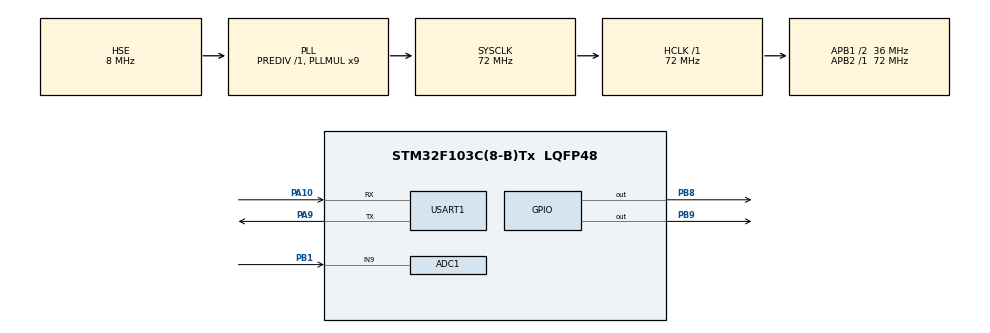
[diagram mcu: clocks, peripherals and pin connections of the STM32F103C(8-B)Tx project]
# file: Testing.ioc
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ADC1.Channel-4\#ChannelRegularConversion=ADC_CHANNEL_9
ADC1.NbrOfConversionFlag=1
ADC1.Rank-4\#ChannelRegularConversion=1
ADC1.SamplingTime-4\#ChannelRegularConversion=ADC_SAMPLETIME_1CYCLE_5
ADC1.master=1
Mcu.Family=STM32F1
Mcu.Name=STM32F103C(8-B)Tx
Mcu.Package=LQFP48
NVIC.PriorityGroup=NVIC_PRIORITYGROUP_4
PA10.Mode=Asynchronous
PA10.Signal=USART1_RX
PA13.Mode=Serial_Wire
PA13.Signal=SYS_JTMS-SWDIO
PA14.Mode=Serial_Wire
PA14.Signal=SYS_JTCK-SWCLK
PA9.Mode=Asynchronous
PA9.Signal=USART1_TX
PB1.Signal=ADCx_IN9
PB8.Signal=GPIO_Output
PB9.Signal=GPIO_Output
PC14-OSC32_IN.Mode=LSE-External-Oscillator
PC14-OSC32_IN.Signal=RCC_OSC32_IN
PC15-OSC32_OUT.Mode=LSE-External-Oscillator
PC15-OSC32_OUT.Signal=RCC_OSC32_OUT
PD0-OSC_IN.Mode=HSE-External-Oscillator
PD0-OSC_IN.Signal=RCC_OSC_IN
PD1-OSC_OUT.Mode=HSE-External-Oscillator
PD1-OSC_OUT.Signal=RCC_OSC_OUT
ProjectManager.HeapSize=0x200
ProjectManager.StackSize=0x400
ProjectManager.TargetToolchain=CMake
RCC.ADCPresc=RCC_ADCPCLK2_DIV6
RCC.AHBFreq_Value=72000000
RCC.APB1CLKDivider=RCC_HCLK_DIV2
RCC.APB1Freq_Value=36000000
RCC.APB1TimFreq_Value=72000000
RCC.APB2Freq_Value=72000000
RCC.APB2TimFreq_Value=72000000
RCC.HCLKFreq_Value=72000000
RCC.PLLMUL=RCC_PLL_MUL9
RCC.PLLSourceVirtual=RCC_PLLSOURCE_HSE
RCC.SYSCLKFreq_VALUE=72000000
RCC.SYSCLKSource=RCC_SYSCLKSOURCE_PLLCLK
RCC.USBFreq_Value=72000000
SH.ADCx_IN9.0=ADC1_IN9,IN9
USART1.VirtualMode=VM_ASYNC
board=custom

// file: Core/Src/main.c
/* USER CODE BEGIN Header */
/**
  ******************************************************************************
  * @file           : main.c
  * @brief          : Main program body
  ******************************************************************************
  * @attention
  *
  * Copyright (c) 2025 STMicroelectronics.
  * All rights reserved.
  *
  * This software is licensed under terms that can be found in the LICENSE file
  * in the root directory of this software component.
  * If no LICENSE file comes with this software, it is provided AS-IS.
  *
  ******************************************************************************
  */
/* USER CODE END Header */
#include "main.h"
#include "stdio.h"
#include "string.h"

ADC_HandleTypeDef hadc1;

UART_HandleTypeDef huart1;

/* USER CODE BEGIN PV */
volatile uint16_t adc_input;
/* USER CODE END PV */

void SystemClock_Config(void);
static void MX_GPIO_Init(void);
static void MX_ADC1_Init(void);
static void MX_USART1_UART_Init(void);

/* USER CODE BEGIN 0 */

/*
Takes in a 12 bit value from our ADC peripheral, and maps it to a distance in mm.
*/

//float talk_over_serial(int distance) {
  //method body
//}
/* USER CODE END 0 */

int main(void)
{

  /* USER CODE BEGIN 1 */
 // const float input_voltage = 3.3f;
  //float voltage;
  /* USER CODE END 1 */

  /* MCU Configuration--------------------------------------------------------*/

  /* Reset of all peripherals, Initializes the Flash interface and the Systick. */
  HAL_Init();

  /* Configure the system clock */
  SystemClock_Config();

  /* Initialize all configured peripherals */
  MX_GPIO_Init();
  MX_ADC1_Init();
  MX_USART1_UART_Init();
  /* USER CODE BEGIN 2 */
  HAL_ADC_Start_IT(&hadc1);
  /* USER CODE END 2 */

  /* Infinite loop */
  /* USER CODE BEGIN WHILE */
  while (1)
  {
    adc_input = HAL_ADC_GetValue(&hadc1);

    if (adc_input >= 2600) { //change this to max ~540 mm later
      HAL_GPIO_WritePin(GPIOB, GPIO_PIN_7, GPIO_PIN_RESET);//GREEN OFF
      HAL_GPIO_WritePin(GPIOB, GPIO_PIN_8, GPIO_PIN_RESET);//YELLOW OFF
      HAL_GPIO_WritePin(GPIOB, GPIO_PIN_9, GPIO_PIN_SET);//RED ON
    }
    else if (adc_input >= 1300) { //change later
      HAL_GPIO_WritePin(GPIOB, GPIO_PIN_7, GPIO_PIN_RESET);//GREEN OFF
      HAL_GPIO_WritePin(GPIOB, GPIO_PIN_8, GPIO_PIN_SET);//YELLOW ON
      HAL_GPIO_WritePin(GPIOB, GPIO_PIN_9, GPIO_PIN_RESET); //RED OFF

    }// if (adc_input >= 0)
    else { //change later
      HAL_GPIO_WritePin(GPIOB, GPIO_PIN_7, GPIO_PIN_SET);//GREEN ON
      HAL_GPIO_WritePin(GPIOB, GPIO_PIN_8, GPIO_PIN_RESET);//YELLOW OFF
      HAL_GPIO_WritePin(GPIOB, GPIO_PIN_9, GPIO_PIN_RESET); //RED OFF
    }
    //else { //greater than ~540 mm
      //HAL_GPIO_WritePin(GPIOB, GPIO_PIN_7, GPIO_PIN_RESET);//GREEN OFF
      //HAL_GPIO_WritePin(GPIOB, GPIO_PIN_8, GPIO_PIN_RESET); //YELLOW OFF
      //HAL_GPIO_WritePin(GPIOB, GPIO_PIN_9, GPIO_PIN_RESET); //RED OFF
    //}

    HAL_GPIO_TogglePin(GPIOC, GPIO_PIN_13);
    //Transmit over UART via ASCII
    char data_bus[12];//of size (adc_input)
    sprintf(data_bus, "%u\r\n", adc_input);//convert adc_input to chars
    //strlen is the length of data_bus
    HAL_UART_Transmit(&huart1, (uint8_t*)data_bus, strlen(data_bus), HAL_MAX_DELAY);
    /* USER CODE END WHILE */

  }
}

void SystemClock_Config(void)
{
  RCC_OscInitTypeDef RCC_OscInitStruct = {0};
  RCC_ClkInitTypeDef RCC_ClkInitStruct = {0};
  RCC_PeriphCLKInitTypeDef PeriphClkInit = {0};

  /** Initializes the RCC Oscillators according to the specified parameters
  * in the RCC_OscInitTypeDef structure.
  */
  RCC_OscInitStruct.OscillatorType = RCC_OSCILLATORTYPE_HSE;
  RCC_OscInitStruct.HSEState = RCC_HSE_ON;
  RCC_OscInitStruct.HSEPredivValue = RCC_HSE_PREDIV_DIV1;
  RCC_OscInitStruct.HSIState = RCC_HSI_ON;
  RCC_OscInitStruct.PLL.PLLState = RCC_PLL_ON;
  RCC_OscInitStruct.PLL.PLLSource = RCC_PLLSOURCE_HSE;
  RCC_OscInitStruct.PLL.PLLMUL = RCC_PLL_MUL9;
  if (HAL_RCC_OscConfig(&RCC_OscInitStruct) != HAL_OK)
  {
    Error_Handler();
  }

  /** Initializes the CPU, AHB and APB buses clocks
  */
  RCC_ClkInitStruct.ClockType = RCC_CLOCKTYPE_HCLK|RCC_CLOCKTYPE_SYSCLK
                              |RCC_CLOCKTYPE_PCLK1|RCC_CLOCKTYPE_PCLK2;
  RCC_ClkInitStruct.SYSCLKSource = RCC_SYSCLKSOURCE_PLLCLK;
  RCC_ClkInitStruct.AHBCLKDivider = RCC_SYSCLK_DIV1;
  RCC_ClkInitStruct.APB1CLKDivider = RCC_HCLK_DIV2;
  RCC_ClkInitStruct.APB2CLKDivider = RCC_HCLK_DIV1;

  if (HAL_RCC_ClockConfig(&RCC_ClkInitStruct, FLASH_LATENCY_2) != HAL_OK)
  {
    Error_Handler();
  }
  PeriphClkInit.PeriphClockSelection = RCC_PERIPHCLK_ADC;
  PeriphClkInit.AdcClockSelection = RCC_ADCPCLK2_DIV6;
  if (HAL_RCCEx_PeriphCLKConfig(&PeriphClkInit) != HAL_OK)
  {
    Error_Handler();
  }
}

static void MX_ADC1_Init(void)
{

  ADC_ChannelConfTypeDef sConfig = {0};

  /** Common config
  */
  hadc1.Instance = ADC1;
  hadc1.Init.ScanConvMode = ADC_SCAN_DISABLE;
  hadc1.Init.ContinuousConvMode = ENABLE;
  hadc1.Init.DiscontinuousConvMode = DISABLE;
  hadc1.Init.ExternalTrigConv = ADC_SOFTWARE_START;
  hadc1.Init.DataAlign = ADC_DATAALIGN_RIGHT;
  hadc1.Init.NbrOfConversion = 1;
  if (HAL_ADC_Init(&hadc1) != HAL_OK)
  {
    Error_Handler();
  }

  /** Configure Regular Channel
  */
  sConfig.Channel = ADC_CHANNEL_9;
  sConfig.Rank = ADC_REGULAR_RANK_1;
  sConfig.SamplingTime = ADC_SAMPLETIME_1CYCLE_5;
  if (HAL_ADC_ConfigChannel(&hadc1, &sConfig) != HAL_OK)
  {
    Error_Handler();
  }

}

static void MX_USART1_UART_Init(void)
{

  huart1.Instance = USART1;
  huart1.Init.BaudRate = 115200;
  huart1.Init.WordLength = UART_WORDLENGTH_8B;
  huart1.Init.StopBits = UART_STOPBITS_1;
  huart1.Init.Parity = UART_PARITY_NONE;
  huart1.Init.Mode = UART_MODE_TX_RX;
  huart1.Init.HwFlowCtl = UART_HWCONTROL_NONE;
  huart1.Init.OverSampling = UART_OVERSAMPLING_16;
  if (HAL_UART_Init(&huart1) != HAL_OK)
  {
    Error_Handler();
  }

}

static void MX_GPIO_Init(void)
{
  GPIO_InitTypeDef GPIO_InitStruct = {0};

  /* GPIO Ports Clock Enable */
  __HAL_RCC_GPIOC_CLK_ENABLE();
  __HAL_RCC_GPIOD_CLK_ENABLE();
  __HAL_RCC_GPIOB_CLK_ENABLE();
  __HAL_RCC_GPIOA_CLK_ENABLE();

  /*Configure GPIO pin Output Level */
  HAL_GPIO_WritePin(GPIOB, GPIO_PIN_8|GPIO_PIN_9, GPIO_PIN_RESET);

  /*Configure GPIO pins : PB8 PB9 */
  GPIO_InitStruct.Pin = GPIO_PIN_8|GPIO_PIN_9;
  GPIO_InitStruct.Mode = GPIO_MODE_OUTPUT_PP;
  GPIO_InitStruct.Pull = GPIO_NOPULL;
  GPIO_InitStruct.Speed = GPIO_SPEED_FREQ_LOW;
  HAL_GPIO_Init(GPIOB, &GPIO_InitStruct);

}

/* USER CODE BEGIN 4 */
//void HAL_ADC_ConvCpltCallback(ADC_HandleTypeDef *hadc)
//{
//    if (hadc->Instance == ADC1)
//    {
//        adc_input = HAL_ADC_GetValue(hadc);
//    }
//}
/* USER CODE END 4 */

void Error_Handler(void)
{
  __disable_irq();
  while (1)
  {
  }
}
